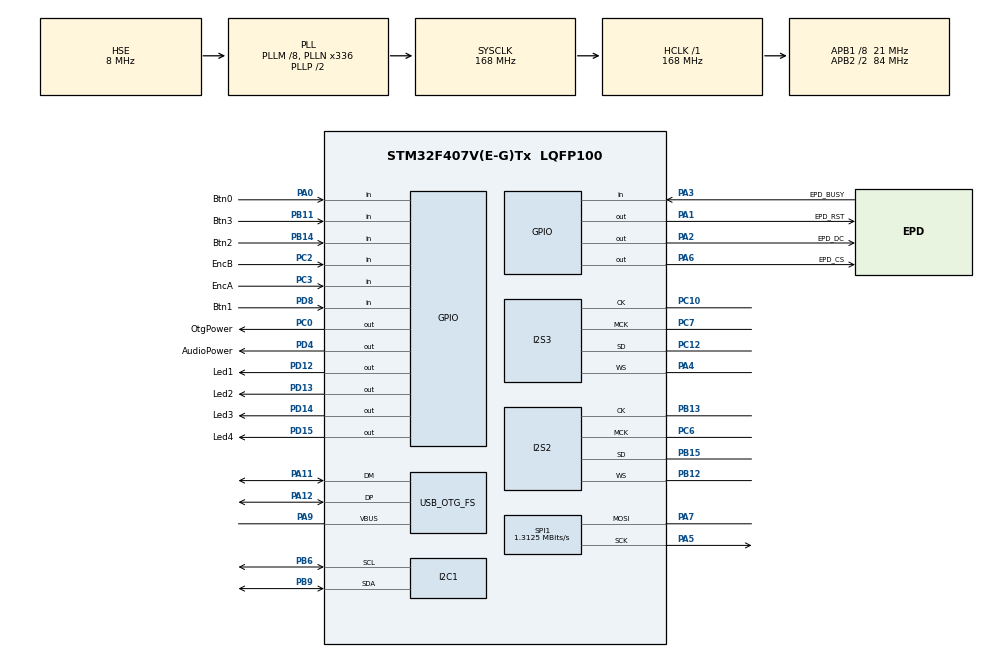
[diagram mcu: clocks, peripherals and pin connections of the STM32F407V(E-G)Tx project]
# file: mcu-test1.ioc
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Dma.Request0=SPI2_RX
Dma.Request1=SPI3_TX
Dma.SPI2_RX.0.Direction=DMA_PERIPH_TO_MEMORY
Dma.SPI2_RX.0.FIFOMode=DMA_FIFOMODE_ENABLE
Dma.SPI2_RX.0.FIFOThreshold=DMA_FIFO_THRESHOLD_1QUARTERFULL
Dma.SPI2_RX.0.Instance=DMA1_Stream3
Dma.SPI2_RX.0.MemBurst=DMA_MBURST_SINGLE
Dma.SPI2_RX.0.MemDataAlignment=DMA_MDATAALIGN_WORD
Dma.SPI2_RX.0.MemInc=DMA_MINC_ENABLE
Dma.SPI2_RX.0.Mode=DMA_CIRCULAR
Dma.SPI2_RX.0.PeriphBurst=DMA_PBURST_SINGLE
Dma.SPI2_RX.0.PeriphDataAlignment=DMA_PDATAALIGN_HALFWORD
Dma.SPI2_RX.0.PeriphInc=DMA_PINC_DISABLE
Dma.SPI2_RX.0.Priority=DMA_PRIORITY_LOW
Dma.SPI3_TX.1.Direction=DMA_MEMORY_TO_PERIPH
Dma.SPI3_TX.1.FIFOMode=DMA_FIFOMODE_ENABLE
Dma.SPI3_TX.1.FIFOThreshold=DMA_FIFO_THRESHOLD_1QUARTERFULL
Dma.SPI3_TX.1.Instance=DMA1_Stream5
Dma.SPI3_TX.1.MemBurst=DMA_MBURST_SINGLE
Dma.SPI3_TX.1.MemDataAlignment=DMA_MDATAALIGN_HALFWORD
Dma.SPI3_TX.1.MemInc=DMA_MINC_ENABLE
Dma.SPI3_TX.1.Mode=DMA_CIRCULAR
Dma.SPI3_TX.1.PeriphBurst=DMA_PBURST_SINGLE
Dma.SPI3_TX.1.PeriphDataAlignment=DMA_PDATAALIGN_HALFWORD
Dma.SPI3_TX.1.PeriphInc=DMA_PINC_DISABLE
Dma.SPI3_TX.1.Priority=DMA_PRIORITY_LOW
FATFS._MAX_SS=4096
FATFS._USE_STRFUNC=0
I2S2.AudioFreq=I2S_AUDIOFREQ_44K
I2S2.DataFormat=I2S_DATAFORMAT_24B
I2S2.ErrorAudioFreq=0.42 %
I2S2.FullDuplexMode=I2S_FULLDUPLEXMODE_DISABLE
I2S2.Instance=SPI$Index
I2S2.Mode=I2S_MODE_MASTER_RX
I2S2.RealAudioFreq=44.189 KHz
I2S2.VirtualMode=I2S_MODE_MASTER
I2S3.AudioFreq=I2S_AUDIOFREQ_44K
I2S3.DataFormat=I2S_DATAFORMAT_16B
I2S3.ErrorAudioFreq=0.42 %
I2S3.FullDuplexMode=I2S_FULLDUPLEXMODE_DISABLE
I2S3.Instance=SPI$Index
I2S3.RealAudioFreq=44.189 KHz
I2S3.VirtualMode=I2S_MODE_MASTER
Mcu.Family=STM32F4
Mcu.Name=STM32F407V(E-G)Tx
Mcu.Package=LQFP100
NVIC.DMA1_Stream3_IRQn=true\:0\:0\:false\:false\:true\:false\:true\:true
NVIC.DMA1_Stream5_IRQn=true\:0\:0\:false\:false\:true\:false\:true\:true
NVIC.OTG_FS_IRQn=true\:0\:0\:false\:false\:true\:false\:true\:true
NVIC.PriorityGroup=NVIC_PRIORITYGROUP_4
NVIC.SPI2_IRQn=true\:0\:0\:false\:false\:true\:true\:true\:true
NVIC.SPI3_IRQn=true\:0\:0\:false\:false\:true\:true\:true\:true
PA0-WKUP.GPIO_Label=Btn0
PA0-WKUP.Signal=GPIO_Input
PA1.GPIO_Label=EPD_RST
PA1.Signal=GPIO_Output
PA11.GPIO_Speed=GPIO_SPEED_FREQ_LOW
PA11.Mode=Host_Only
PA11.Signal=USB_OTG_FS_DM
PA12.GPIO_Speed=GPIO_SPEED_FREQ_LOW
PA12.Mode=Host_Only
PA12.Signal=USB_OTG_FS_DP
PA13.Mode=Serial_Wire
PA13.Signal=SYS_JTMS-SWDIO
PA14.Mode=Serial_Wire
PA14.Signal=SYS_JTCK-SWCLK
PA2.GPIO_Label=EPD_DC
PA2.Signal=GPIO_Output
PA3.GPIO_Label=EPD_BUSY
PA3.Signal=GPIO_Input
PA4.GPIO_Speed=GPIO_SPEED_FREQ_MEDIUM
PA4.Mode=Half_Duplex_Master
PA4.Signal=I2S3_WS
PA5.Mode=Simplex_Bidirectional_Master
PA5.Signal=SPI1_SCK
PA6.GPIO_Label=EPD_CS
PA6.PinState=GPIO_PIN_RESET
PA6.Signal=GPIO_Output
PA7.Mode=Simplex_Bidirectional_Master
PA7.Signal=SPI1_MOSI
PA9.Mode=Activate_VBUS
PA9.Signal=USB_OTG_FS_VBUS
PB11.GPIO_Label=Btn3
PB11.GPIO_PuPd=GPIO_PULLUP
PB11.Signal=GPIO_Input
PB12.GPIO_Speed=GPIO_SPEED_FREQ_MEDIUM
PB12.Mode=Half_Duplex_Master
PB12.Signal=I2S2_WS
PB13.GPIO_Speed=GPIO_SPEED_FREQ_MEDIUM
PB13.Mode=Half_Duplex_Master
PB13.Signal=I2S2_CK
PB14.GPIO_Label=Btn2
PB14.GPIO_PuPd=GPIO_PULLUP
PB14.Signal=GPIO_Input
PB15.GPIO_Speed=GPIO_SPEED_FREQ_MEDIUM
PB15.Mode=Half_Duplex_Master
PB15.Signal=I2S2_SD
PB6.Mode=I2C
PB6.Signal=I2C1_SCL
PB9.Mode=I2C
PB9.Signal=I2C1_SDA
PC0.GPIO_Label=OtgPower
PC0.PinState=GPIO_PIN_RESET
PC0.Signal=GPIO_Output
PC10.GPIO_Speed=GPIO_SPEED_FREQ_MEDIUM
PC10.Mode=Half_Duplex_Master
PC10.Signal=I2S3_CK
PC12.GPIO_Speed=GPIO_SPEED_FREQ_MEDIUM
PC12.Mode=Half_Duplex_Master
PC12.Signal=I2S3_SD
PC2.GPIO_Label=EncB
PC2.Signal=GPIO_Input
PC3.GPIO_Label=EncA
PC3.Signal=GPIO_Input
PC6.GPIO_Speed=GPIO_SPEED_FREQ_MEDIUM
PC6.Mode=Master_Clock_Activated
PC6.Signal=I2S2_MCK
PC7.GPIO_Speed=GPIO_SPEED_FREQ_MEDIUM
PC7.Mode=Master_Clock_Activated
PC7.Signal=I2S3_MCK
PD12.GPIO_Label=Led1
PD12.Signal=GPIO_Output
PD13.GPIO_Label=Led2
PD13.Signal=GPIO_Output
PD14.GPIO_Label=Led3
PD14.Signal=GPIO_Output
PD15.GPIO_Label=Led4
PD15.PinState=GPIO_PIN_RESET
PD15.Signal=GPIO_Output
PD4.GPIO_Label=AudioPower
PD4.PinState=GPIO_PIN_SET
PD4.Signal=GPIO_Output
PD8.GPIO_Label=Btn1
PD8.GPIO_PuPd=GPIO_PULLUP
PD8.Signal=GPIO_Input
PH0-OSC_IN.Mode=HSE-External-Oscillator
PH0-OSC_IN.Signal=RCC_OSC_IN
PH1-OSC_OUT.Mode=HSE-External-Oscillator
PH1-OSC_OUT.Signal=RCC_OSC_OUT
ProjectManager.HeapSize=0x200
ProjectManager.StackSize=0x400
ProjectManager.TargetToolchain=STM32CubeIDE
RCC.48MHZClocksFreq_Value=48000000
RCC.AHBFreq_Value=168000000
RCC.APB1CLKDivider=RCC_HCLK_DIV8
RCC.APB1Freq_Value=21000000
RCC.APB1TimFreq_Value=42000000
RCC.APB2CLKDivider=RCC_HCLK_DIV2
RCC.APB2Freq_Value=84000000
RCC.APB2TimFreq_Value=168000000
RCC.CortexFreq_Value=168000000
RCC.HCLKFreq_Value=168000000
RCC.HSE_VALUE=8000000
RCC.HSI_VALUE=16000000
RCC.LSE_VALUE=32768
RCC.PLLI2SN=181
RCC.PLLM=8
RCC.PLLN=336
RCC.PLLQ=7
RCC.SYSCLKFreq_VALUE=168000000
RCC.SYSCLKSource=RCC_SYSCLKSOURCE_PLLCLK
RCC.VCOOutputFreq_Value=336000000
SPI1.BaudRatePrescaler=SPI_BAUDRATEPRESCALER_64
SPI1.CalculateBaudRate=1.3125 MBits/s
SPI1.Direction=SPI_DIRECTION_1LINE
SPI1.Mode=SPI_MODE_MASTER
SPI1.VirtualType=VM_MASTER
USB_HOST.BSP.number=1
USB_HOST.USBH_HandleTypeDef-MSC_FS=hUsbHostFS
USB_HOST.VirtualModeFS=Msc
USB_HOST0.BSP.STBoard=false
USB_HOST0.BSP.api=Unknown
USB_HOST0.BSP.i2caddr=0
USB_HOST0.BSP.instance=PC0
USB_HOST0.BSP.ip=GPIO
USB_HOST0.BSP.mode=Output
USB_HOST0.BSP.name=Drive_VBUS_FS
USB_HOST0.BSP.solution=PC0
USB_OTG_FS.VirtualMode=Host_Only
USB_OTG_FS.phy_itface=HCD_PHY_EMBEDDED
VP_FATFS_VS_USB.Mode=USB
VP_USB_HOST_VS_USB_HOST_MSC_FS.Mode=MSC_FS
board=custom

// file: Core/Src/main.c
/* USER CODE BEGIN Header */
/**
 ******************************************************************************
 * @file           : main.c
 * @brief          : Main program body
 ******************************************************************************
 * @attention
 *
 * Copyright (c) 2022 STMicroelectronics.
 * All rights reserved.
 *
 * This software is licensed under terms that can be found in the LICENSE file
 * in the root directory of this software component.
 * If no LICENSE file comes with this software, it is provided AS-IS.
 *
 ******************************************************************************
 */
/* USER CODE END Header */
#include "main.h"
#include "fatfs.h"
#include "usb_host.h"

/* USER CODE BEGIN Includes */
#include <stdio.h>
#include <stdlib.h>
#include "pedalboard_min.h"
//#include "cs43l22.h"
#include "EPD_2_9.h"
#include "painter.h"
#include "rotary_encoder.h"

/* USER CODE END Includes */

I2C_HandleTypeDef hi2c1;

I2S_HandleTypeDef hi2s2;
I2S_HandleTypeDef hi2s3;
DMA_HandleTypeDef hdma_spi2_rx;
DMA_HandleTypeDef hdma_spi3_tx;

SPI_HandleTypeDef hspi1;

/* USER CODE BEGIN PV */

extern ApplicationTypeDef Appli_state;
FATFS myUsbFatFS;
extern char USBHPath[4];

union _ADC_BUFF {
	uint8_t ADC8[32];
	uint16_t ADC16[16];
	int32_t ADC32[8];
} ADC_BUFF;

int32_t BUFF_CONV[4];

union _DAC_BUFF {
	uint8_t DAC8[32];
	uint16_t DAC16[16];
	int32_t DAC32[8];
} DAC_BUFF;

uint16_t display_counter = 0;
float display_array[296];

float RAW_SAMPLES[2];
float PROC_SAMPLES[2];

pedalboard_t pedalboard;

EPD_HandleTypeDef hepd1;

RE_HandleTypeDef hre1;

/* USER CODE END PV */

void SystemClock_Config(void);
void PeriphCommonClock_Config(void);
static void MX_GPIO_Init(void);
static void MX_DMA_Init(void);
static void MX_I2C1_Init(void);
static void MX_I2S2_Init(void);
static void MX_I2S3_Init(void);
static void MX_SPI1_Init(void);
void MX_USB_HOST_Process(void);

/* USER CODE BEGIN 0 */

void Conv_ADC(uint8_t *buf, int32_t *result) {
	*result = 0xFF000000 * ((buf[1] >> 7) & 1) + (buf[1] << 16) + (buf[0] << 8) + buf[3];
}

uint32_t rxHalfCpltCounter = 0;
void HAL_I2S_RxHalfCpltCallback(I2S_HandleTypeDef *hi2s)
{
	if (hi2s->Instance == SPI2)
	{
		Conv_ADC(&ADC_BUFF.ADC8[0], &BUFF_CONV[0]); // LEFT
		Conv_ADC(&ADC_BUFF.ADC8[4], &BUFF_CONV[1]); // RIGHT
		RAW_SAMPLES[0] = (float)BUFF_CONV[0];
		RAW_SAMPLES[1] = (float)BUFF_CONV[1];
		rxHalfCpltCounter++;
		if (display_counter < 296) {
			display_array[display_counter] = BUFF_CONV[0];
			display_counter++;
		}
	}
}

uint32_t rxCpltCounter = 0;
void HAL_I2S_RxCpltCallback(I2S_HandleTypeDef *hi2s)
{
	if (hi2s->Instance == SPI2)
	{
		Conv_ADC(&ADC_BUFF.ADC8[8], &BUFF_CONV[2]); // LEFT
		Conv_ADC(&ADC_BUFF.ADC8[12], &BUFF_CONV[3]); // RIGHT
		RAW_SAMPLES[0] = (float)BUFF_CONV[2];
		RAW_SAMPLES[1] = (float)BUFF_CONV[3];
		rxCpltCounter++;
		if (display_counter < 296) {
			display_array[display_counter] = BUFF_CONV[2];
			display_counter++;
		}
	}
}

uint32_t txHalfCpltCounter = 0;
/*void HAL_I2S_TxHalfCpltCallback(I2S_HandleTypeDef *hi2s)
{
	if (hi2s->Instance == SPI3)
	{
		PROC_SAMPLES[0] = pedalboard_process(&pedalboard, (float)RAW_SAMPLES[0]);
		PROC_SAMPLES[0] /= 1.0F;
		PROC_SAMPLES[1] = PROC_SAMPLES[0];
		//PROC_SAMPLES[0] = RAW_SAMPLES[0] * 1;
		//PROC_SAMPLES[0] = wave_gen('s', txHalfCpltCounter, 440.0F) * 10000;
		DAC_BUFF.DAC16[__HAL_DMA_GET_COUNTER(hi2s->hdmatx)] = (int16_t)PROC_SAMPLES[0];
		txHalfCpltCounter++;
	}
}*/

uint32_t txCpltCounter = 0;
/*void HAL_I2S_TxCpltCallback(I2S_HandleTypeDef *hi2s)
{
	if (hi2s->Instance == SPI3)
	{
		//PROC_SAMPLES[1] = wave_gen('s', txCpltCounter, 440.0F) * 10000;
		DAC_BUFF.DAC16[__HAL_DMA_GET_COUNTER(hi2s->hdmatx)] = (int16_t)PROC_SAMPLES[1];
		txCpltCounter++;
	}
}*/

/* USER CODE END 0 */

int main(void)
{

	/* MCU Configuration--------------------------------------------------------*/

	/* Reset of all peripherals, Initializes the Flash interface and the Systick. */
	HAL_Init();

	/* Configure the system clock */
	SystemClock_Config();

	/* Configure the peripherals common clocks */
	PeriphCommonClock_Config();

	/* Initialize all configured peripherals */
	MX_GPIO_Init();
	MX_DMA_Init();
	MX_I2C1_Init();
	MX_I2S2_Init();
	MX_I2S3_Init();
	MX_USB_HOST_Init();
	MX_FATFS_Init();
	MX_SPI1_Init();
	/* USER CODE BEGIN 2 */

	HAL_GPIO_WritePin(Led2_GPIO_Port, Led2_Pin, GPIO_PIN_SET);

	pedalboard.active_pedals = 0;
	pedalboard_append(&pedalboard, LPF);

	//CS43_Init(hi2c1, MODE_I2S);
	//CS43_SetVolume(255);
	//CS43_Enable_RightLeft(CS43_RIGHT_LEFT);
	//CS43_Start();

	HAL_I2S_Receive_DMA(&hi2s2, &ADC_BUFF.ADC16[0], 4);
	HAL_I2S_Transmit_DMA(&hi2s3, &DAC_BUFF.DAC16[0], 8);

	EPD_Init(&hepd1);
	EPD_Clear(&hepd1);

	char row[16+1];
	draw_clean(hepd1.image);
	draw_rectangle(hepd1.image, 36, 56, 88, 20);

	sprintf(row, "g33ky toad");
	draw_text(hepd1.image, row, 40, 60);

	sprintf(row, "digital pedal");
	draw_text(hepd1.image, row, 20, 90);

	EPD_Display(&hepd1);
	EPD_Sleep(&hepd1);

	RE_Init(&hre1, EncA_GPIO_Port, EncB_GPIO_Port, EncA_Pin, EncB_Pin);

	HAL_GPIO_WritePin(Led2_GPIO_Port, Led2_Pin, GPIO_PIN_RESET);

	/* USER CODE END 2 */

	/* Infinite loop */
	while (1)
	{
		MX_USB_HOST_Process();

		/* USER CODE BEGIN 3 */
		HAL_GPIO_WritePin(OtgPower_GPIO_Port, OtgPower_Pin, GPIO_PIN_RESET);

		RE_Process(&hre1);

		int interval = 7;
		if (HAL_GetTick() % (interval * 1000) == 0) {
			HAL_GPIO_WritePin(Led3_GPIO_Port, Led3_Pin, GPIO_PIN_SET);
			EPD_Init(&hepd1);
			EPD_Wait_If_Busy(&hepd1);
			draw_clean(hepd1.image);

			sprintf(row, "RxH %d LR", rxHalfCpltCounter / interval);
			draw_text(hepd1.image, row, 0, 0);
			sprintf(row, "RxC %d LR", rxCpltCounter / interval);
			draw_text(hepd1.image, row, 0, 20);
			sprintf(row, "TxH %d L", txHalfCpltCounter / interval);
			draw_text(hepd1.image, row, 0, 40);
			sprintf(row, "TxC %d R", txCpltCounter / interval);
			draw_text(hepd1.image, row, 0, 60);

			sprintf(row, "Enc %d", hre1.counter);
			draw_text(hepd1.image, row, 0, 80);

			rxHalfCpltCounter = 0;
			rxCpltCounter = 0;
			txHalfCpltCounter = 0;
			txCpltCounter = 0;

			for (int i = 0; i < 296; i++) {
				float val = (float)display_array[i] / 32768.0F * 10.0F;
				if (val > 63) val = 63;
				if (val < -64) val = -64;
				toggle_single_pixel(hepd1.image, 64 + (int)val, i);
			}
			display_counter = 0;

			EPD_Display_Async(&hepd1);

			EPD_Sleep(&hepd1);
			HAL_GPIO_WritePin(Led3_GPIO_Port, Led3_Pin, GPIO_PIN_RESET);
		}

		//GPIO_PinState btn_states[4];
		//btn_states[0] = HAL_GPIO_ReadPin(Btn0_GPIO_Port, Btn0_Pin);
		//btn_states[1] = !HAL_GPIO_ReadPin(Btn1_GPIO_Port, Btn1_Pin);
		//btn_states[2] = !HAL_GPIO_ReadPin(Btn2_GPIO_Port, Btn2_Pin);
		//btn_states[3] = !HAL_GPIO_ReadPin(Btn3_GPIO_Port, Btn3_Pin);

		//HAL_GPIO_WritePin(Led1_GPIO_Port, Led1_Pin, btn_states[0] || btn_states[1] || btn_states[2] || btn_states[3]);

		/*if (Appli_state == APPLICATION_READY)
		{
			//HAL_GPIO_WritePin(Led1_GPIO_Port, Led1_Pin, GPIO_PIN_SET);
			if(HAL_GPIO_ReadPin(Btn1_GPIO_Port, Btn1_Pin) == GPIO_PIN_SET) {

				// USE USB
				FIL inFile, outFile;
				FRESULT resRead, resWrite;
				int32_t bytesRead, bytesWritten;
				int32_t inSample, outSample;
				char writeBuffer[16];

				resRead = f_open(&inFile, "in1.txt", FA_READ);
				resWrite = f_open(&outFile, "out1.txt", FA_CREATE_ALWAYS);
				f_close(&outFile);
				resWrite = f_open(&outFile, "out1.txt", FA_WRITE);
				if(resRead == FR_OK && resWrite == FR_OK)
				{
					// succ
					HAL_GPIO_WritePin(Led1_GPIO_Port, Led1_Pin, GPIO_PIN_SET);
					do {
						inSample = readSampleFile(&inFile, &bytesRead);
						outSample = (int32_t)pedalboard_process(&pedalboard, (float)inSample);
						sprintf(writeBuffer, "%ld\n", outSample);
						resWrite = f_write(&outFile, (uint8_t *)writeBuffer, strlen(writeBuffer), &bytesWritten);
					} while(bytesRead > 0);

					HAL_Delay(1000);
					HAL_GPIO_WritePin(Led1_GPIO_Port, Led1_Pin, GPIO_PIN_RESET);
				} else {
					// wtf
					HAL_GPIO_WritePin(Led3_GPIO_Port, Led3_Pin, GPIO_PIN_SET);
					HAL_Delay(1000);
					HAL_GPIO_WritePin(Led3_GPIO_Port, Led3_Pin, GPIO_PIN_RESET);
				}
				f_close(&inFile);
				f_close(&outFile);
			}
		}
		else if (Appli_state == APPLICATION_DISCONNECT || Appli_state == APPLICATION_IDLE)
		{
			HAL_GPIO_WritePin(Led1_GPIO_Port, Led1_Pin, GPIO_PIN_RESET);
			HAL_GPIO_WritePin(Led2_GPIO_Port, Led2_Pin, GPIO_PIN_RESET);
			HAL_GPIO_WritePin(Led3_GPIO_Port, Led3_Pin, GPIO_PIN_RESET);
			HAL_GPIO_WritePin(Led4_GPIO_Port, Led4_Pin, GPIO_PIN_RESET);

			if(HAL_GPIO_ReadPin(Btn1_GPIO_Port, Btn1_Pin) == GPIO_PIN_SET) {

				float f_a = 1.F, f_b = 1.F;
				float f_ops[6] = {12.1F, -53.4F, 76.1F, 11.9F, 6.F, 14.F};
				HAL_GPIO_WritePin(Led1_GPIO_Port, Led1_Pin, GPIO_PIN_SET);
				for (int32_t i = 0; i < 44100 * 30; i++) {
					f_b = f_ops[i % 6];
					switch(i % 4) {
					case 0: f_a += f_b; break;
					case 1: f_a -= f_b; break;
					case 2: f_a *= f_b; break;
					case 3: f_a /= f_b; break;
					}
					f_b = pedalboard_process(&pedalboard, f_a);

				}
				HAL_GPIO_WritePin(Led1_GPIO_Port, Led1_Pin, GPIO_PIN_RESET);
			}
		}
		else if (Appli_state == APPLICATION_START)
		{
			if (f_mount(&myUsbFatFS, (TCHAR const*)USBHPath, 0) == FR_OK)
			{
				HAL_GPIO_WritePin(Led4_GPIO_Port, Led4_Pin, GPIO_PIN_SET);
			}
			else
			{
				HAL_GPIO_WritePin(Led3_GPIO_Port, Led3_Pin, GPIO_PIN_SET);
			}
		}*/
	}

	/* USER CODE END 3 */
}

void SystemClock_Config(void)
{
	RCC_OscInitTypeDef RCC_OscInitStruct = {0};
	RCC_ClkInitTypeDef RCC_ClkInitStruct = {0};

	/** Configure the main internal regulator output voltage
	 */
	__HAL_RCC_PWR_CLK_ENABLE();
	__HAL_PWR_VOLTAGESCALING_CONFIG(PWR_REGULATOR_VOLTAGE_SCALE1);
	/** Initializes the RCC Oscillators according to the specified parameters
	 * in the RCC_OscInitTypeDef structure.
	 */
	RCC_OscInitStruct.OscillatorType = RCC_OSCILLATORTYPE_HSE;
	RCC_OscInitStruct.HSEState = RCC_HSE_ON;
	RCC_OscInitStruct.PLL.PLLState = RCC_PLL_ON;
	RCC_OscInitStruct.PLL.PLLSource = RCC_PLLSOURCE_HSE;
	RCC_OscInitStruct.PLL.PLLM = 8;
	RCC_OscInitStruct.PLL.PLLN = 336;
	RCC_OscInitStruct.PLL.PLLP = RCC_PLLP_DIV2;
	RCC_OscInitStruct.PLL.PLLQ = 7;
	if (HAL_RCC_OscConfig(&RCC_OscInitStruct) != HAL_OK)
	{
		Error_Handler();
	}
	/** Initializes the CPU, AHB and APB buses clocks
	 */
	RCC_ClkInitStruct.ClockType = RCC_CLOCKTYPE_HCLK|RCC_CLOCKTYPE_SYSCLK
			|RCC_CLOCKTYPE_PCLK1|RCC_CLOCKTYPE_PCLK2;
	RCC_ClkInitStruct.SYSCLKSource = RCC_SYSCLKSOURCE_PLLCLK;
	RCC_ClkInitStruct.AHBCLKDivider = RCC_SYSCLK_DIV1;
	RCC_ClkInitStruct.APB1CLKDivider = RCC_HCLK_DIV8;
	RCC_ClkInitStruct.APB2CLKDivider = RCC_HCLK_DIV2;

	if (HAL_RCC_ClockConfig(&RCC_ClkInitStruct, FLASH_LATENCY_5) != HAL_OK)
	{
		Error_Handler();
	}
}

void PeriphCommonClock_Config(void)
{
	RCC_PeriphCLKInitTypeDef PeriphClkInitStruct = {0};

	/** Initializes the peripherals clock
	 */
	PeriphClkInitStruct.PeriphClockSelection = RCC_PERIPHCLK_I2S;
	PeriphClkInitStruct.PLLI2S.PLLI2SN = 181;
	PeriphClkInitStruct.PLLI2S.PLLI2SR = 2;
	if (HAL_RCCEx_PeriphCLKConfig(&PeriphClkInitStruct) != HAL_OK)
	{
		Error_Handler();
	}
}

static void MX_I2C1_Init(void)
{

	hi2c1.Instance = I2C1;
	hi2c1.Init.ClockSpeed = 100000;
	hi2c1.Init.DutyCycle = I2C_DUTYCYCLE_2;
	hi2c1.Init.OwnAddress1 = 0;
	hi2c1.Init.AddressingMode = I2C_ADDRESSINGMODE_7BIT;
	hi2c1.Init.DualAddressMode = I2C_DUALADDRESS_DISABLE;
	hi2c1.Init.OwnAddress2 = 0;
	hi2c1.Init.GeneralCallMode = I2C_GENERALCALL_DISABLE;
	hi2c1.Init.NoStretchMode = I2C_NOSTRETCH_DISABLE;
	if (HAL_I2C_Init(&hi2c1) != HAL_OK)
	{
		Error_Handler();
	}

}

static void MX_I2S2_Init(void)
{

	hi2s2.Instance = SPI2;
	hi2s2.Init.Mode = I2S_MODE_MASTER_RX;
	hi2s2.Init.Standard = I2S_STANDARD_PHILIPS;
	hi2s2.Init.DataFormat = I2S_DATAFORMAT_24B;
	hi2s2.Init.MCLKOutput = I2S_MCLKOUTPUT_ENABLE;
	hi2s2.Init.AudioFreq = I2S_AUDIOFREQ_44K;
	hi2s2.Init.CPOL = I2S_CPOL_LOW;
	hi2s2.Init.ClockSource = I2S_CLOCK_PLL;
	hi2s2.Init.FullDuplexMode = I2S_FULLDUPLEXMODE_DISABLE;
	if (HAL_I2S_Init(&hi2s2) != HAL_OK)
	{
		Error_Handler();
	}

}

static void MX_I2S3_Init(void)
{

	hi2s3.Instance = SPI3;
	hi2s3.Init.Mode = I2S_MODE_MASTER_TX;
	hi2s3.Init.Standard = I2S_STANDARD_PHILIPS;
	hi2s3.Init.DataFormat = I2S_DATAFORMAT_16B;
	hi2s3.Init.MCLKOutput = I2S_MCLKOUTPUT_ENABLE;
	hi2s3.Init.AudioFreq = I2S_AUDIOFREQ_44K;
	hi2s3.Init.CPOL = I2S_CPOL_LOW;
	hi2s3.Init.ClockSource = I2S_CLOCK_PLL;
	hi2s3.Init.FullDuplexMode = I2S_FULLDUPLEXMODE_DISABLE;
	if (HAL_I2S_Init(&hi2s3) != HAL_OK)
	{
		Error_Handler();
	}

}

static void MX_SPI1_Init(void)
{

	/* SPI1 parameter configuration*/
	hspi1.Instance = SPI1;
	hspi1.Init.Mode = SPI_MODE_MASTER;
	hspi1.Init.Direction = SPI_DIRECTION_1LINE;
	hspi1.Init.DataSize = SPI_DATASIZE_8BIT;
	hspi1.Init.CLKPolarity = SPI_POLARITY_LOW;
	hspi1.Init.CLKPhase = SPI_PHASE_1EDGE;
	hspi1.Init.NSS = SPI_NSS_SOFT;
	hspi1.Init.BaudRatePrescaler = SPI_BAUDRATEPRESCALER_64;
	hspi1.Init.FirstBit = SPI_FIRSTBIT_MSB;
	hspi1.Init.TIMode = SPI_TIMODE_DISABLE;
	hspi1.Init.CRCCalculation = SPI_CRCCALCULATION_DISABLE;
	hspi1.Init.CRCPolynomial = 10;
	if (HAL_SPI_Init(&hspi1) != HAL_OK)
	{
		Error_Handler();
	}

}

static void MX_DMA_Init(void)
{

	/* DMA controller clock enable */
	__HAL_RCC_DMA1_CLK_ENABLE();

	/* DMA interrupt init */
	/* DMA1_Stream3_IRQn interrupt configuration */
	HAL_NVIC_SetPriority(DMA1_Stream3_IRQn, 0, 0);
	HAL_NVIC_EnableIRQ(DMA1_Stream3_IRQn);
	/* DMA1_Stream5_IRQn interrupt configuration */
	HAL_NVIC_SetPriority(DMA1_Stream5_IRQn, 0, 0);
	HAL_NVIC_EnableIRQ(DMA1_Stream5_IRQn);

}

static void MX_GPIO_Init(void)
{
	GPIO_InitTypeDef GPIO_InitStruct = {0};

	/* GPIO Ports Clock Enable */
	__HAL_RCC_GPIOH_CLK_ENABLE();
	__HAL_RCC_GPIOC_CLK_ENABLE();
	__HAL_RCC_GPIOA_CLK_ENABLE();
	__HAL_RCC_GPIOB_CLK_ENABLE();
	__HAL_RCC_GPIOD_CLK_ENABLE();

	/*Configure GPIO pin Output Level */
	HAL_GPIO_WritePin(OtgPower_GPIO_Port, OtgPower_Pin, GPIO_PIN_RESET);

	/*Configure GPIO pin Output Level */
	HAL_GPIO_WritePin(GPIOA, EPD_RST_Pin|EPD_DC_Pin|EPD_CS_Pin, GPIO_PIN_RESET);

	/*Configure GPIO pin Output Level */
	HAL_GPIO_WritePin(GPIOD, Led1_Pin|Led2_Pin|Led3_Pin|Led4_Pin, GPIO_PIN_RESET);

	/*Configure GPIO pin Output Level */
	HAL_GPIO_WritePin(AudioPower_GPIO_Port, AudioPower_Pin, GPIO_PIN_SET);

	/*Configure GPIO pin : OtgPower_Pin */
	GPIO_InitStruct.Pin = OtgPower_Pin;
	GPIO_InitStruct.Mode = GPIO_MODE_OUTPUT_PP;
	GPIO_InitStruct.Pull = GPIO_NOPULL;
	GPIO_InitStruct.Speed = GPIO_SPEED_FREQ_LOW;
	HAL_GPIO_Init(OtgPower_GPIO_Port, &GPIO_InitStruct);

	/*Configure GPIO pins : EncB_Pin EncA_Pin */
	GPIO_InitStruct.Pin = EncB_Pin|EncA_Pin;
	GPIO_InitStruct.Mode = GPIO_MODE_INPUT;
	GPIO_InitStruct.Pull = GPIO_NOPULL;
	HAL_GPIO_Init(GPIOC, &GPIO_InitStruct);

	/*Configure GPIO pins : Btn0_Pin EPD_BUSY_Pin */
	GPIO_InitStruct.Pin = Btn0_Pin|EPD_BUSY_Pin;
	GPIO_InitStruct.Mode = GPIO_MODE_INPUT;
	GPIO_InitStruct.Pull = GPIO_NOPULL;
	HAL_GPIO_Init(GPIOA, &GPIO_InitStruct);

	/*Configure GPIO pins : EPD_RST_Pin EPD_DC_Pin EPD_CS_Pin */
	GPIO_InitStruct.Pin = EPD_RST_Pin|EPD_DC_Pin|EPD_CS_Pin;
	GPIO_InitStruct.Mode = GPIO_MODE_OUTPUT_PP;
	GPIO_InitStruct.Pull = GPIO_NOPULL;
	GPIO_InitStruct.Speed = GPIO_SPEED_FREQ_LOW;
	HAL_GPIO_Init(GPIOA, &GPIO_InitStruct);

	/*Configure GPIO pins : Btn3_Pin Btn2_Pin */
	GPIO_InitStruct.Pin = Btn3_Pin|Btn2_Pin;
	GPIO_InitStruct.Mode = GPIO_MODE_INPUT;
	GPIO_InitStruct.Pull = GPIO_PULLUP;
	HAL_GPIO_Init(GPIOB, &GPIO_InitStruct);

	/*Configure GPIO pin : Btn1_Pin */
	GPIO_InitStruct.Pin = Btn1_Pin;
	GPIO_InitStruct.Mode = GPIO_MODE_INPUT;
	GPIO_InitStruct.Pull = GPIO_PULLUP;
	HAL_GPIO_Init(Btn1_GPIO_Port, &GPIO_InitStruct);

	/*Configure GPIO pins : Led1_Pin Led2_Pin Led3_Pin Led4_Pin
                           AudioPower_Pin */
	GPIO_InitStruct.Pin = Led1_Pin|Led2_Pin|Led3_Pin|Led4_Pin
			|AudioPower_Pin;
	GPIO_InitStruct.Mode = GPIO_MODE_OUTPUT_PP;
	GPIO_InitStruct.Pull = GPIO_NOPULL;
	GPIO_InitStruct.Speed = GPIO_SPEED_FREQ_LOW;
	HAL_GPIO_Init(GPIOD, &GPIO_InitStruct);

}

void Error_Handler(void)
{
	__disable_irq();
	while (1)
	{
	}
}
